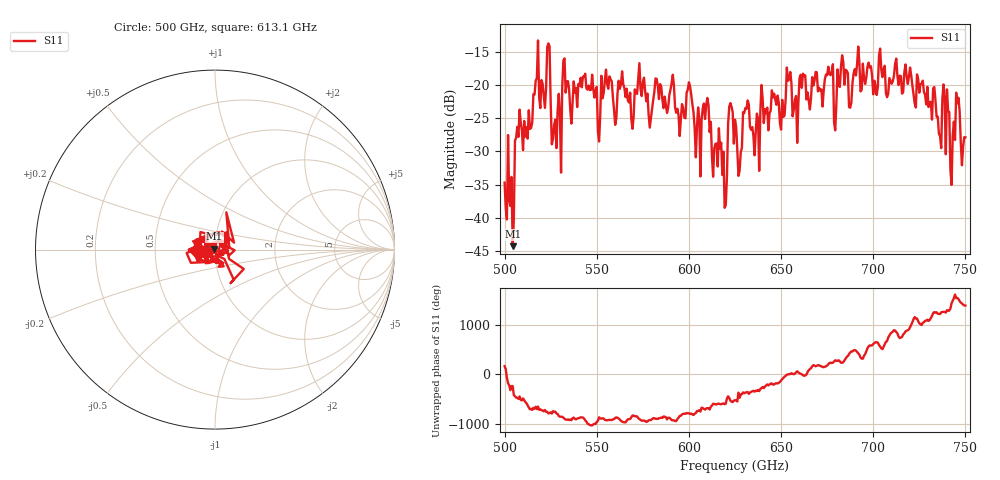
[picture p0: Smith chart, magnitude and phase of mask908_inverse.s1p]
!Created with skrf (http://scikit-rf.org).
# GHz S MA R 50.0
!freq magS11 angS11
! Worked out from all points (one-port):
!   401 points, 500 GHz to 750 GHz, reference 50 ohm
!   lowest |S11| = -44.3 dB at 504.4 GHz (marker M1), VSWR 1.01, Z = 49.7 + j0.499 ohm
!   |S11| at or under -10 dB: start of sweep to end of sweep
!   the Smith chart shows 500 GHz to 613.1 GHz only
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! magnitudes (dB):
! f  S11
! 500 GHz  -34.7
! 504.4 GHz  -44.3
! 506.9 GHz  -26.3
! 513.8 GHz  -26.6
! 516.9 GHz  -19.3
! 523.8 GHz  -13.7
! 526.9 GHz  -26.0
! 531.2 GHz  -20.4
! 562.5 GHz  -20.6
! 579.4 GHz  -25.0
! 590.6 GHz  -19.7
! 593.8 GHz  -23.6
! 600 GHz  -19.6
! 605 GHz  -23.4
! 609.4 GHz  -23.0
! 619.4 GHz  -38.5
! 622.5 GHz  -22.7
! 625 GHz  -25.2
! 627.5 GHz  -32.9
! 631.2 GHz  -23.6
! 636.9 GHz  -24.3
! 656.2 GHz  -24.7
! 680 GHz  -22.8
! 683.8 GHz  -16.5
! 687.5 GHz  -23.4
! 691.2 GHz  -16.8
! 718.8 GHz  -19.8
! 750 GHz  -27.9
